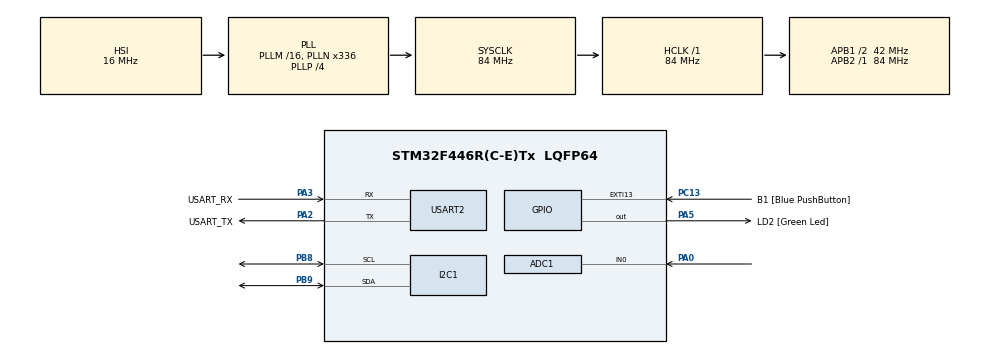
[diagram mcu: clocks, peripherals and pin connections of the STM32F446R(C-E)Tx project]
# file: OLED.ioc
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ADC1.Channel-0\#ChannelRegularConversion=ADC_CHANNEL_0
ADC1.NbrOfConversionFlag=1
ADC1.Rank-0\#ChannelRegularConversion=1
ADC1.SamplingTime-0\#ChannelRegularConversion=ADC_SAMPLETIME_3CYCLES
ADC1.master=1
I2C1.I2C_Mode=I2C_Fast
Mcu.Family=STM32F4
Mcu.Name=STM32F446R(C-E)Tx
Mcu.Package=LQFP64
NVIC.PriorityGroup=NVIC_PRIORITYGROUP_4
NVIC.TIM6_DAC_IRQn=true\:15\:0\:false\:false\:true\:false\:true\:true
NVIC.TimeBase=TIM6_DAC_IRQn
NVIC.TimeBaseIP=TIM6
PA0-WKUP.Signal=ADCx_IN0
PA13.GPIO_Label=TMS
PA13.Mode=Serial_Wire
PA13.Signal=SYS_JTMS-SWDIO
PA14.GPIO_Label=TCK
PA14.Mode=Serial_Wire
PA14.Signal=SYS_JTCK-SWCLK
PA2.GPIO_Label=USART_TX
PA2.Mode=Asynchronous
PA2.Signal=USART2_TX
PA3.GPIO_Label=USART_RX
PA3.Mode=Asynchronous
PA3.Signal=USART2_RX
PA5.GPIO_Label=LD2 [Green Led]
PA5.Signal=GPIO_Output
PB3.GPIO_Label=SWO
PB3.Signal=SYS_JTDO-SWO
PB8.Mode=I2C
PB8.Signal=I2C1_SCL
PB9.Mode=I2C
PB9.Signal=I2C1_SDA
PC13.GPIO_Label=B1 [Blue PushButton]
PC13.GPIO_ModeDefaultEXTI=GPIO_MODE_IT_FALLING
PC13.Signal=GPXTI13
PC14-OSC32_IN.Mode=LSE-External-Oscillator
PC14-OSC32_IN.Signal=RCC_OSC32_IN
PC15-OSC32_OUT.Mode=LSE-External-Oscillator
PC15-OSC32_OUT.Signal=RCC_OSC32_OUT
PH0-OSC_IN.Mode=HSE-External-Oscillator
PH0-OSC_IN.Signal=RCC_OSC_IN
PH1-OSC_OUT.Mode=HSE-External-Oscillator
PH1-OSC_OUT.Signal=RCC_OSC_OUT
ProjectManager.HeapSize=0x200
ProjectManager.StackSize=0x400
ProjectManager.TargetToolchain=STM32CubeIDE
RCC.48MHZClocksFreq_Value=84000000
RCC.AHBFreq_Value=84000000
RCC.APB1CLKDivider=RCC_HCLK_DIV2
RCC.APB1Freq_Value=42000000
RCC.APB1TimFreq_Value=84000000
RCC.APB2Freq_Value=84000000
RCC.APB2TimFreq_Value=84000000
RCC.CortexFreq_Value=84000000
RCC.FLatency-AdvancedSettings=FLASH_LATENCY_2
RCC.HCLKFreq_Value=84000000
RCC.HSE_VALUE=8000000
RCC.HSI_VALUE=16000000
RCC.PLLN=336
RCC.PLLP=RCC_PLLP_DIV4
RCC.SYSCLKFreq_VALUE=84000000
RCC.SYSCLKSource=RCC_SYSCLKSOURCE_PLLCLK
RCC.USBFreq_Value=168000000
RCC.VCOOutputFreq_Value=336000000
SH.ADCx_IN0.0=ADC1_IN0,IN0
USART2.VirtualMode=VM_ASYNC
VP_SYS_VS_tim6.Mode=TIM6
board=NUCLEO-F446RE

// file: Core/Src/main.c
/* USER CODE BEGIN Header */
/**
  ******************************************************************************
  * @file           : main.c
  * @brief          : Main program body
  ******************************************************************************
  * @attention
  *
  * Copyright (c) 2024 STMicroelectronics.
  * All rights reserved.
  *
  * This software is licensed under terms that can be found in the LICENSE file
  * in the root directory of this software component.
  * If no LICENSE file comes with this software, it is provided AS-IS.
  *
  ******************************************************************************
  */
/* USER CODE END Header */
#include "main.h"

/* USER CODE BEGIN Includes */
#include "fonts.h"
#include "ssd1306.h"
#include "stdio.h"
#include "string.h"

/* USER CODE END Includes */

ADC_HandleTypeDef hadc1;

I2C_HandleTypeDef hi2c1;

UART_HandleTypeDef huart2;

void SystemClock_Config(void);
static void MX_GPIO_Init(void);
static void MX_USART2_UART_Init(void);
static void MX_I2C1_Init(void);
static void MX_ADC1_Init(void);
/* USER CODE BEGIN PFP */
void Task_ReadSensor(void);
void Task_UpdateDisplay(void);
void Task_SendUART(void);

/* USER CODE END PFP */

/* USER CODE BEGIN 0 */
uint32_t sensorValue = 0;
float fvoltage = 0;
char snum[50];
char msg[100];

uint32_t lastSensorReadTime = 0;
uint32_t lastDisplayUpdateTime = 0;
const uint32_t sensorReadInterval = 500;
const uint32_t displayUpdateInterval = 500;

int uart2_write(int ch)
{
	/*Make sure the transmit data register is empty*/
	while(!(USART2->SR & USART_SR_TXE)){}

	 /*Write to transmit data register*/
	USART2->DR	=  (ch & 0xFF);
	return ch;
}

int __io_putchar(int ch)
{
	uart2_write(ch);
	return ch;
}

/* USER CODE END 0 */

int main(void)
{

  /* MCU Configuration--------------------------------------------------------*/

  /* Reset of all peripherals, Initializes the Flash interface and the Systick. */
  HAL_Init();

  /* Configure the system clock */
  SystemClock_Config();

  /* Initialize all configured peripherals */
  MX_GPIO_Init();
  MX_USART2_UART_Init();
  MX_I2C1_Init();
  MX_ADC1_Init();
  /* USER CODE BEGIN 2 */

  SSD1306_Init();
  char snum[50];
  char msg[100];

  /* USER CODE END 2 */

  /* Infinite loop */
  /* USER CODE BEGIN WHILE */
  while (1)
  {
      uint32_t currentTime = HAL_GetTick();

      if (currentTime - lastSensorReadTime >= sensorReadInterval)
      {
          lastSensorReadTime = currentTime;
          Task_ReadSensor();
          Task_SendUART();
      }

      if (currentTime - lastDisplayUpdateTime >= displayUpdateInterval)
      {
          lastDisplayUpdateTime = currentTime;
          Task_UpdateDisplay();
      }
    /* USER CODE END WHILE */

  }
}

void SystemClock_Config(void)
{
  RCC_OscInitTypeDef RCC_OscInitStruct = {0};
  RCC_ClkInitTypeDef RCC_ClkInitStruct = {0};

  /** Configure the main internal regulator output voltage
  */
  __HAL_RCC_PWR_CLK_ENABLE();
  __HAL_PWR_VOLTAGESCALING_CONFIG(PWR_REGULATOR_VOLTAGE_SCALE3);

  /** Initializes the RCC Oscillators according to the specified parameters
  * in the RCC_OscInitTypeDef structure.
  */
  RCC_OscInitStruct.OscillatorType = RCC_OSCILLATORTYPE_HSI;
  RCC_OscInitStruct.HSIState = RCC_HSI_ON;
  RCC_OscInitStruct.HSICalibrationValue = RCC_HSICALIBRATION_DEFAULT;
  RCC_OscInitStruct.PLL.PLLState = RCC_PLL_ON;
  RCC_OscInitStruct.PLL.PLLSource = RCC_PLLSOURCE_HSI;
  RCC_OscInitStruct.PLL.PLLM = 16;
  RCC_OscInitStruct.PLL.PLLN = 336;
  RCC_OscInitStruct.PLL.PLLP = RCC_PLLP_DIV4;
  RCC_OscInitStruct.PLL.PLLQ = 2;
  RCC_OscInitStruct.PLL.PLLR = 2;
  if (HAL_RCC_OscConfig(&RCC_OscInitStruct) != HAL_OK)
  {
    Error_Handler();
  }

  /** Initializes the CPU, AHB and APB buses clocks
  */
  RCC_ClkInitStruct.ClockType = RCC_CLOCKTYPE_HCLK|RCC_CLOCKTYPE_SYSCLK
                              |RCC_CLOCKTYPE_PCLK1|RCC_CLOCKTYPE_PCLK2;
  RCC_ClkInitStruct.SYSCLKSource = RCC_SYSCLKSOURCE_PLLCLK;
  RCC_ClkInitStruct.AHBCLKDivider = RCC_SYSCLK_DIV1;
  RCC_ClkInitStruct.APB1CLKDivider = RCC_HCLK_DIV2;
  RCC_ClkInitStruct.APB2CLKDivider = RCC_HCLK_DIV1;

  if (HAL_RCC_ClockConfig(&RCC_ClkInitStruct, FLASH_LATENCY_2) != HAL_OK)
  {
    Error_Handler();
  }
}

static void MX_ADC1_Init(void)
{

  ADC_ChannelConfTypeDef sConfig = {0};

  /** Configure the global features of the ADC (Clock, Resolution, Data Alignment and number of conversion)
  */
  hadc1.Instance = ADC1;
  hadc1.Init.ClockPrescaler = ADC_CLOCK_SYNC_PCLK_DIV4;
  hadc1.Init.Resolution = ADC_RESOLUTION_12B;
  hadc1.Init.ScanConvMode = DISABLE;
  hadc1.Init.ContinuousConvMode = DISABLE;
  hadc1.Init.DiscontinuousConvMode = DISABLE;
  hadc1.Init.ExternalTrigConvEdge = ADC_EXTERNALTRIGCONVEDGE_NONE;
  hadc1.Init.ExternalTrigConv = ADC_SOFTWARE_START;
  hadc1.Init.DataAlign = ADC_DATAALIGN_RIGHT;
  hadc1.Init.NbrOfConversion = 1;
  hadc1.Init.DMAContinuousRequests = DISABLE;
  hadc1.Init.EOCSelection = ADC_EOC_SINGLE_CONV;
  if (HAL_ADC_Init(&hadc1) != HAL_OK)
  {
    Error_Handler();
  }

  /** Configure for the selected ADC regular channel its corresponding rank in the sequencer and its sample time.
  */
  sConfig.Channel = ADC_CHANNEL_0;
  sConfig.Rank = 1;
  sConfig.SamplingTime = ADC_SAMPLETIME_3CYCLES;
  if (HAL_ADC_ConfigChannel(&hadc1, &sConfig) != HAL_OK)
  {
    Error_Handler();
  }

}

static void MX_I2C1_Init(void)
{

  hi2c1.Instance = I2C1;
  hi2c1.Init.ClockSpeed = 400000;
  hi2c1.Init.DutyCycle = I2C_DUTYCYCLE_2;
  hi2c1.Init.OwnAddress1 = 0;
  hi2c1.Init.AddressingMode = I2C_ADDRESSINGMODE_7BIT;
  hi2c1.Init.DualAddressMode = I2C_DUALADDRESS_DISABLE;
  hi2c1.Init.OwnAddress2 = 0;
  hi2c1.Init.GeneralCallMode = I2C_GENERALCALL_DISABLE;
  hi2c1.Init.NoStretchMode = I2C_NOSTRETCH_DISABLE;
  if (HAL_I2C_Init(&hi2c1) != HAL_OK)
  {
    Error_Handler();
  }

}

static void MX_USART2_UART_Init(void)
{

  huart2.Instance = USART2;
  huart2.Init.BaudRate = 115200;
  huart2.Init.WordLength = UART_WORDLENGTH_8B;
  huart2.Init.StopBits = UART_STOPBITS_1;
  huart2.Init.Parity = UART_PARITY_NONE;
  huart2.Init.Mode = UART_MODE_TX_RX;
  huart2.Init.HwFlowCtl = UART_HWCONTROL_NONE;
  huart2.Init.OverSampling = UART_OVERSAMPLING_16;
  if (HAL_UART_Init(&huart2) != HAL_OK)
  {
    Error_Handler();
  }

}

static void MX_GPIO_Init(void)
{
  GPIO_InitTypeDef GPIO_InitStruct = {0};

  /* GPIO Ports Clock Enable */
  __HAL_RCC_GPIOC_CLK_ENABLE();
  __HAL_RCC_GPIOH_CLK_ENABLE();
  __HAL_RCC_GPIOA_CLK_ENABLE();
  __HAL_RCC_GPIOB_CLK_ENABLE();

  /*Configure GPIO pin Output Level */
  HAL_GPIO_WritePin(LD2_GPIO_Port, LD2_Pin, GPIO_PIN_RESET);

  /*Configure GPIO pin : B1_Pin */
  GPIO_InitStruct.Pin = B1_Pin;
  GPIO_InitStruct.Mode = GPIO_MODE_IT_FALLING;
  GPIO_InitStruct.Pull = GPIO_NOPULL;
  HAL_GPIO_Init(B1_GPIO_Port, &GPIO_InitStruct);

  /*Configure GPIO pin : LD2_Pin */
  GPIO_InitStruct.Pin = LD2_Pin;
  GPIO_InitStruct.Mode = GPIO_MODE_OUTPUT_PP;
  GPIO_InitStruct.Pull = GPIO_NOPULL;
  GPIO_InitStruct.Speed = GPIO_SPEED_FREQ_LOW;
  HAL_GPIO_Init(LD2_GPIO_Port, &GPIO_InitStruct);

}

/* USER CODE BEGIN 4 */
void Task_ReadSensor(void)
{
    HAL_ADC_Start(&hadc1);
    HAL_ADC_PollForConversion(&hadc1, 1);
    sensorValue = HAL_ADC_GetValue(&hadc1);
    fvoltage = (float)sensorValue * (3.3 / 4095.0);
}

void Task_SendUART(void)
{
    sprintf(msg, "%f\r\n", fvoltage);
    HAL_UART_Transmit(&huart2, (uint8_t*)msg, strlen(msg), HAL_MAX_DELAY);
}

void Task_UpdateDisplay(void)
{
    sprintf(snum, "%f", fvoltage);
    SSD1306_Clear();
    SSD1306_GotoXY(0, 30);
    SSD1306_Puts(snum, &Font_16x26, 1);
    SSD1306_UpdateScreen();
}

/* USER CODE END 4 */

void HAL_TIM_PeriodElapsedCallback(TIM_HandleTypeDef *htim)
{
  if (htim->Instance == TIM6) {
    HAL_IncTick();
  }
}

void Error_Handler(void)
{
  __disable_irq();
  while (1)
  {
  }
}
